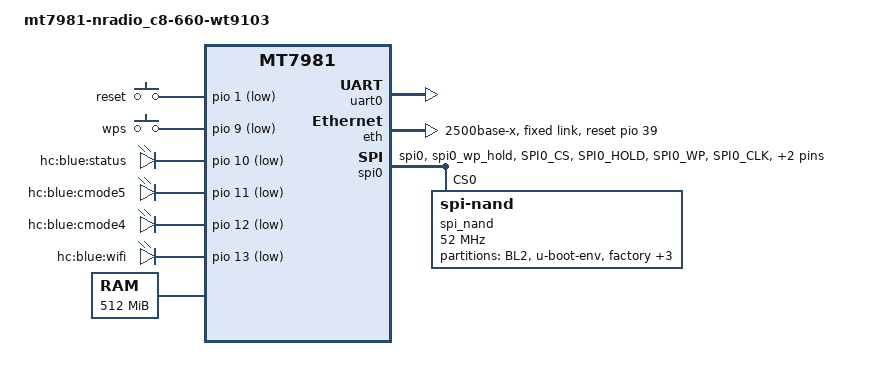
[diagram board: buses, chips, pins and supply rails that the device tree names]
// SPDX-License-Identifier: GPL-2.0

/dts-v1/;
#include "mt7981.dtsi"
#include <dt-bindings/gpio/gpio.h>

/ {
	#address-cells = <1>;
	#size-cells = <1>;
	model = "mt7981-nradio_c8-660-wt9103";
	compatible = "mediatek,mt7981", "mediatek,mt7981-rfb";

	chosen {
		stdout-path = &uart0;
		tick-timer = &timer0;
	};

	config {
		bootcmd = "mtkboardboot";
		blink_led = "hc:blue:wifi";
		system_led = "hc:blue:status";
	};

	mtd-layout {
		layout@0 {
			label = "default";
			// stock 512M layout: ubi 64M + app_data 16M + ubi_2nd 426.5M
			mtdids = "nmbm0=nmbm0";
			mtdparts = "nmbm0:1024k(bl2),512k(u-boot-env),1536k(factory),512k(bdinfo),2048k(fip),65536k(ubi),16384k(app_data),436736k(ubi_2nd)";
			boot_part = "ubi";
		};

		layout@1 {
			label = "128m-flash-64m";
			// ubi 64M
			mtdids = "nmbm0=nmbm0";
			mtdparts = "nmbm0:1024k(bl2),512k(u-boot-env),1536k(factory),512k(bdinfo),2048k(fip),65536k(ubi)";
			boot_part = "ubi";
		};

		layout@2 {
			label = "128m-flash-112m";
			// ubi 112M
			mtdids = "nmbm0=nmbm0";
			mtdparts = "nmbm0:1024k(bl2),512k(u-boot-env),1536k(factory),512k(bdinfo),2048k(fip),114688k(ubi)";
			boot_part = "ubi";
		};
	};

	gpio-keys {
		compatible = "gpio-keys";

		reset-button {
			label = "reset";
			linux,code = <KEY_RESTART>;
			gpios = <&pio 1 GPIO_ACTIVE_LOW>;
		};

		wps-button {
			label = "wps";
			linux,code = <BTN_9>;
			gpios = <&pio 9 GPIO_ACTIVE_LOW>;
		};
	};

	leds {
		compatible = "gpio-leds";

		led-status {
			label = "hc:blue:status";
			gpios = <&pio 10 GPIO_ACTIVE_LOW>;
		};

		led-cmode5 {
			label = "hc:blue:cmode5";
			gpios = <&pio 11 GPIO_ACTIVE_LOW>;
		};

		led-cmode4 {
			label = "hc:blue:cmode4";
			gpios = <&pio 12 GPIO_ACTIVE_LOW>;
		};

		led-wifi {
			label = "hc:blue:wifi";
			gpios = <&pio 13 GPIO_ACTIVE_LOW>;
		};
	};

	memory@40000000 {
		device_type = "memory";
		reg = <0x40000000 0x20000000>;
	};

	bl2_verify {
		bl2_compatible = "spim-nand";
	};
};

&uart0 {
	status = "okay";
};

&eth {
	status = "okay";
	mediatek,gmac-id = <0>;
	phy-mode = "2500base-x";
	mediatek,switch = "auto";
	reset-gpios = <&pio 39 GPIO_ACTIVE_HIGH>;

	fixed-link {
		speed = <2500>;
		full-duplex;
	};
};

&pio {
	spi_flash_pins: spi0-pins-func-1 {
		mux {
			function = "flash";
			groups = "spi0", "spi0_wp_hold";
		};

		conf-pu {
			pins = "SPI0_CS", "SPI0_HOLD", "SPI0_WP";
			drive-strength = <MTK_DRIVE_4mA>;
			bias-pull-up = <MTK_PUPD_SET_R1R0_11>;
		};

		conf-pd {
			pins = "SPI0_CLK", "SPI0_MOSI", "SPI0_MISO";
			drive-strength = <MTK_DRIVE_4mA>;
			bias-pull-down = <MTK_PUPD_SET_R1R0_11>;
		};
	};
};

&spi0 {
	#address-cells = <1>;
	#size-cells = <0>;
	pinctrl-names = "default";
	pinctrl-0 = <&spi_flash_pins>;
	status = "okay";
	must_tx;
	enhance_timing;
	dma_ext;
	ipm_design;
	support_quad;
	tick_dly = <2>;
	sample_sel = <0>;

	spi_nand@0 {
		compatible = "spi-nand";
		#address-cells = <1>;
		#size-cells = <1>;
		reg = <0>;
		spi-max-frequency = <52000000>;

		partitions {
			compatible = "fixed-partitions";
			#address-cells = <1>;
			#size-cells = <1>;

			partition@0 {
				label = "BL2";
				reg = <0x00000 0x0100000>;
				read-only;
			};

			partition@100000 {
				label = "u-boot-env";
				reg = <0x0100000 0x0080000>;
			};

			partition@180000 {
				label = "factory";
				reg = <0x180000 0x0180000>;
			};

			partition@300000 {
				label = "bdinfo";
				reg = <0x300000 0x0080000>;
			};

			partition@380000 {
				label = "FIP";
				reg = <0x380000 0x0200000>;
			};

			partition@580000 {
				label = "ubi";
				reg = <0x580000 0x1f400000>;
			};
		};
	};
};

&watchdog {
	status = "disabled";
};
